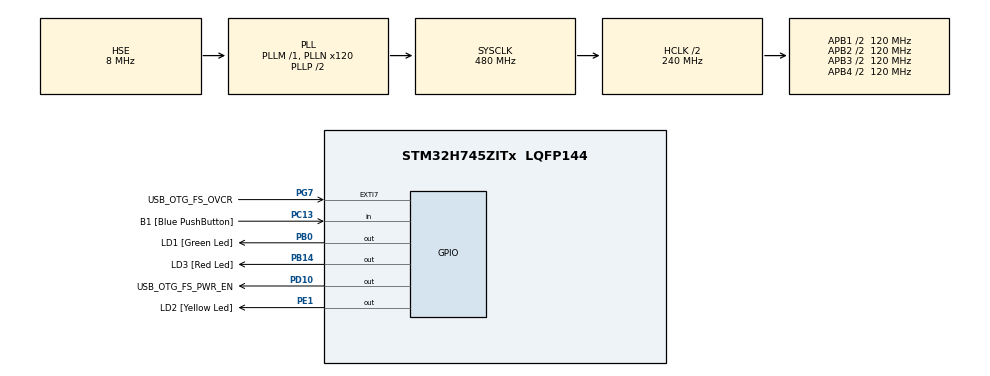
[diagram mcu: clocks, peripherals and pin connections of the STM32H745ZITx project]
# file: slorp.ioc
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CortexM4.IPs=FATFS_M4\:I,FREERTOS_M4\:I,IWDG2\:I,RCC,WWDG2\:I,DMA,BDMA,MDMA,NVIC2\:I,DEBUG,USB_DEVICE_M4\:I,USB_HOST_M4\:I,PDM2PCM_M4\:I,PWR,RESMGR_UTILITY,SYS_M4\:I,CORTEX_M4\:I,OPENAMP_M4\:I,VREFBUF,TIM2\:I
CortexM4.Pins=PB0,PE1
CortexM7.IPs=FATFS_M7\:I,FREERTOS_M7\:I,IWDG1\:I,RCC\:I,WWDG1\:I,DMA\:I,BDMA\:I,MDMA\:I,NVIC1\:I,SYS\:I,CORTEX_M7\:I,DEBUG\:I,USB_DEVICE_M7\:I,USB_HOST_M7\:I,PDM2PCM_M7\:I,PWR\:I,RESMGR_UTILITY\:I,OPENAMP_M7\:I,VREFBUF\:I,TIM1\:I
CortexM7.Pins=PC13,PB14
FREERTOS_M4.Tasks01=defaultTask,24,128,StartDefaultTask,Default,NULL,Dynamic,NULL,NULL;blink,8,128,doBlink,Default,NULL,Dynamic,NULL,NULL
FREERTOS_M7.Tasks01=defaultTask,24,128,StartDefaultTask,Default,NULL,Dynamic,NULL,NULL;sendPulseToM4,8,128,sendPulse,Default,NULL,Dynamic,NULL,NULL
Mcu.Family=STM32H7
Mcu.Name=STM32H745ZITx
Mcu.Package=LQFP144
NVIC1.PriorityGroup=NVIC_PRIORITYGROUP_4
NVIC1.TIM1_UP_IRQn=true\:0\:0\:false\:false\:true\:false\:false\:true
NVIC1.TimeBase=TIM1_UP_IRQn
NVIC1.TimeBaseIP=TIM1
NVIC2.PriorityGroup=NVIC_PRIORITYGROUP_4
NVIC2.TIM2_IRQn=true\:0\:0\:false\:false\:true\:false\:false\:true
NVIC2.TimeBase=TIM2_IRQn
NVIC2.TimeBaseIP=TIM2
PA1.PinAttribute=CortexM4
PA1.Signal=ETH_REF_CLK
PA11.PinAttribute=CortexM7
PA11.Signal=USB_OTG_FS_DM
PA12.PinAttribute=CortexM7
PA12.Signal=USB_OTG_FS_DP
PA2.PinAttribute=CortexM4
PA2.Signal=ETH_MDIO
PA7.PinAttribute=CortexM4
PA7.Signal=ETH_CRS_DV
PA8.PinAttribute=CortexM7
PA8.Signal=USB_OTG_FS_SOF
PA9.PinAttribute=CortexM7
PA9.Signal=USB_OTG_FS_VBUS
PB0.GPIO_Label=LD1 [Green Led]
PB0.GPIO_PuPd=GPIO_PULLDOWN
PB0.PinAttribute=CortexM4
PB0.Signal=GPIO_Output
PB13.PinAttribute=CortexM4
PB13.Signal=ETH_TXD1
PB14.GPIO_Label=LD3 [Red Led]
PB14.GPIO_PuPd=GPIO_PULLDOWN
PB14.PinAttribute=CortexM7
PB14.Signal=GPIO_Output
PC1.PinAttribute=CortexM4
PC1.Signal=ETH_MDC
PC13.GPIO_Label=B1 [Blue PushButton]
PC13.GPIO_PuPd=GPIO_PULLDOWN
PC13.PinAttribute=CortexM7
PC13.Signal=GPIO_Input
PC14-OSC32_IN\ (OSC32_IN).Mode=LSE-External-Oscillator
PC14-OSC32_IN\ (OSC32_IN).PinAttribute=CortexM7
PC14-OSC32_IN\ (OSC32_IN).Signal=RCC_OSC32_IN
PC15-OSC32_OUT\ (OSC32_OUT).Mode=LSE-External-Oscillator
PC15-OSC32_OUT\ (OSC32_OUT).PinAttribute=CortexM7
PC15-OSC32_OUT\ (OSC32_OUT).Signal=RCC_OSC32_OUT
PC4.PinAttribute=CortexM4
PC4.Signal=ETH_RXD0
PC5.PinAttribute=CortexM4
PC5.Signal=ETH_RXD1
PD10.GPIO_Label=USB_OTG_FS_PWR_EN
PD10.PinAttribute=Free
PD10.Signal=GPIO_Output
PD8.GPIO_Label=STLINK_RX
PD8.PinAttribute=CortexM4
PD8.Signal=USART3_TX
PD9.GPIO_Label=STLINK_TX
PD9.PinAttribute=CortexM4
PD9.Signal=USART3_RX
PE1.GPIO_Label=LD2 [Yellow Led]
PE1.GPIO_PuPd=GPIO_PULLDOWN
PE1.PinAttribute=CortexM4
PE1.Signal=GPIO_Output
PG11.PinAttribute=CortexM4
PG11.Signal=ETH_TX_EN
PG13.PinAttribute=CortexM4
PG13.Signal=ETH_TXD0
PG7.GPIO_Label=USB_OTG_FS_OVCR
PG7.PinAttribute=Free
PG7.Signal=GPXTI7
PH0-OSC_IN\ (PH0).Mode=HSE-External-Clock-Source
PH0-OSC_IN\ (PH0).PinAttribute=CortexM7
PH0-OSC_IN\ (PH0).Signal=RCC_OSC_IN
PH1-OSC_OUT\ (PH1).PinAttribute=CortexM7
PH1-OSC_OUT\ (PH1).Signal=RCC_OSC_OUT
ProjectManager.HeapSize=0x200
ProjectManager.StackSize=0x400
ProjectManager.TargetToolchain=STM32CubeIDE
RCC.ADCFreq_Value=16125000
RCC.APB1Freq_Value=120000000
RCC.APB2Freq_Value=120000000
RCC.APB3Freq_Value=120000000
RCC.APB4Freq_Value=120000000
RCC.CortexFreq_Value=480000000
RCC.D1PPRE=RCC_APB3_DIV2
RCC.D2PPRE1=RCC_APB1_DIV2
RCC.D2PPRE2=RCC_APB2_DIV2
RCC.D3PPRE=RCC_APB4_DIV2
RCC.DIVM1=1
RCC.DIVM3=1
RCC.DIVN1=120
RCC.DIVN3=24
RCC.DIVQ3=4
RCC.HCLKFreq_Value=240000000
RCC.HPRE=RCC_HCLK_DIV2
RCC.HSE_VALUE=8000000
RCC.PLL2FRACN=0
RCC.PLL3FRACN=0
RCC.PLLFRACN=0
RCC.PLLSourceVirtual=RCC_PLLSOURCE_HSE
RCC.SYSCLKFreq_VALUE=480000000
RCC.SYSCLKSource=RCC_SYSCLKSOURCE_PLLCLK
RCC.SupplySource=PWR_DIRECT_SMPS_SUPPLY
RCC.USBCLockSelection=RCC_USBCLKSOURCE_PLL3
RCC.USBFreq_Value=48000000
VP_FREERTOS_M4_VS_CMSIS_V2.Mode=CMSIS_V2
VP_FREERTOS_M7_VS_CMSIS_V2.Mode=CMSIS_V2
VP_SYS_M4_VS_tim2.Mode=TIM2
VP_SYS_VS_tim1.Mode=TIM1
board=NUCLEO-H745ZI-Q

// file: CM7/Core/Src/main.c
/* USER CODE BEGIN Header */
/**
  ******************************************************************************
  * @file           : main.c
  * @brief          : Main program body
  ******************************************************************************
  * @attention
  *
  * <h2><center>&copy; Copyright (c) 2021 STMicroelectronics.
  * All rights reserved.</center></h2>
  *
  * This software component is licensed by ST under BSD 3-Clause license,
  * the "License"; You may not use this file except in compliance with the
  * License. You may obtain a copy of the License at:
  *                        opensource.org/licenses/BSD-3-Clause
  *
  ******************************************************************************
  */
/* USER CODE END Header */
#include "main.h"
#include "cmsis_os.h"

/* USER CODE BEGIN PD */

#ifndef HSEM_ID_0
#define HSEM_ID_0 (0U) /* HW semaphore 0*/
#endif

// size in bytes of shared memory
#define SHARED_MEMORY_SIZE 256

// start shared memory states
#define SM_CLEAN 0
#define SM_DIRTY 1
#define SM_LOCKED 2
// end shared memory states

/* USER CODE END PD */

/* Definitions for defaultTask */
osThreadId_t defaultTaskHandle;
const osThreadAttr_t defaultTask_attributes = {
  .name = "defaultTask",
  .priority = (osPriority_t) osPriorityNormal,
  .stack_size = 128 * 4
};
/* Definitions for sendPulseToM4 */
osThreadId_t sendPulseToM4Handle;
const osThreadAttr_t sendPulseToM4_attributes = {
  .name = "sendPulseToM4",
  .priority = (osPriority_t) osPriorityLow,
  .stack_size = 128 * 4
};
/* USER CODE BEGIN PV */

// inter-core buffers
typedef struct shared_memory {
    uint8_t status_M4toM7;
    uint8_t status_M7toM4;
    uint8_t M4toM7[SHARED_MEMORY_SIZE];
    uint8_t M7toM4[SHARED_MEMORY_SIZE];
} SharedMemory;

// pointer to shared memory struct (inter-core buffers and status)
// 0x38001000 is in AHB SRAM4 in D3
volatile SharedMemory* const xfr_ptr = (SharedMemory*)0x38001000;

/* USER CODE END PV */

void SystemClock_Config(void);
static void MX_GPIO_Init(void);
void StartDefaultTask(void *argument);
void sendPulse(void *argument);

/* USER CODE BEGIN PFP */

/**
 * Initializes shared memory.
 */
void init_shared_memory(void);

/**
 * Gets data from M4 to M7. Gets buff_size bytes from shared memory and stores
 * it into buffer.
 *
 * Returns bytes read on success, or < 0 on failure.
 */
int get_M4(uint8_t buffer[], uint32_t buff_size);

/**
 * Writes buff_size bytes from buffer to the shared memory M7 to M4.
 *
 * Returns bytes written on success, or < 0 on failure.
 */
int put_M7(uint8_t buffer[], uint32_t buff_size);

/* USER CODE END PFP */

int main(void)
{
/* USER CODE BEGIN Boot_Mode_Sequence_0 */
  int32_t timeout;
/* USER CODE END Boot_Mode_Sequence_0 */

/* USER CODE BEGIN Boot_Mode_Sequence_1 */
  /* Wait until CPU2 boots and enters in stop mode or timeout*/
  timeout = 0xFFFF;
  while((__HAL_RCC_GET_FLAG(RCC_FLAG_D2CKRDY) != RESET) && (timeout-- > 0));
  if ( timeout < 0 )
  {
  Error_Handler();
  }
/* USER CODE END Boot_Mode_Sequence_1 */
  /* MCU Configuration--------------------------------------------------------*/

  /* Reset of all peripherals, Initializes the Flash interface and the Systick. */
  HAL_Init();

  /* Configure the system clock */
  SystemClock_Config();
/* USER CODE BEGIN Boot_Mode_Sequence_2 */
/* When system initialization is finished, Cortex-M7 will release Cortex-M4 by means of
HSEM notification */
/*HW semaphore Clock enable*/
__HAL_RCC_HSEM_CLK_ENABLE();
/*Take HSEM */
HAL_HSEM_FastTake(HSEM_ID_0);
/*Release HSEM in order to notify the CPU2(CM4)*/
HAL_HSEM_Release(HSEM_ID_0,0);
/* wait until CPU2 wakes up from stop mode */
timeout = 0xFFFF;
while((__HAL_RCC_GET_FLAG(RCC_FLAG_D2CKRDY) == RESET) && (timeout-- > 0));
if ( timeout < 0 )
{
Error_Handler();
}
/* USER CODE END Boot_Mode_Sequence_2 */

  /* USER CODE BEGIN SysInit */

  init_shared_memory();

  /* USER CODE END SysInit */

  /* Initialize all configured peripherals */
  MX_GPIO_Init();

  /* Init scheduler */
  osKernelInitialize();

  /* Create the thread(s) */
  /* creation of defaultTask */
  defaultTaskHandle = osThreadNew(StartDefaultTask, NULL, &defaultTask_attributes);

  /* creation of sendPulseToM4 */
  sendPulseToM4Handle = osThreadNew(sendPulse, NULL, &sendPulseToM4_attributes);

  /* Start scheduler */
  osKernelStart();

  /* We should never get here as control is now taken by the scheduler */
  /* Infinite loop */
  while (1)
  {

  }
}

void SystemClock_Config(void)
{
  RCC_OscInitTypeDef RCC_OscInitStruct = {0};
  RCC_ClkInitTypeDef RCC_ClkInitStruct = {0};

  /** Supply configuration update enable
  */
  HAL_PWREx_ConfigSupply(PWR_DIRECT_SMPS_SUPPLY);
  /** Configure the main internal regulator output voltage
  */
  __HAL_PWR_VOLTAGESCALING_CONFIG(PWR_REGULATOR_VOLTAGE_SCALE0);

  while(!__HAL_PWR_GET_FLAG(PWR_FLAG_VOSRDY)) {}
  /** Initializes the RCC Oscillators according to the specified parameters
  * in the RCC_OscInitTypeDef structure.
  */
  RCC_OscInitStruct.OscillatorType = RCC_OSCILLATORTYPE_HSE;
  RCC_OscInitStruct.HSEState = RCC_HSE_BYPASS;
  RCC_OscInitStruct.PLL.PLLState = RCC_PLL_ON;
  RCC_OscInitStruct.PLL.PLLSource = RCC_PLLSOURCE_HSE;
  RCC_OscInitStruct.PLL.PLLM = 1;
  RCC_OscInitStruct.PLL.PLLN = 120;
  RCC_OscInitStruct.PLL.PLLP = 2;
  RCC_OscInitStruct.PLL.PLLQ = 2;
  RCC_OscInitStruct.PLL.PLLR = 2;
  RCC_OscInitStruct.PLL.PLLRGE = RCC_PLL1VCIRANGE_3;
  RCC_OscInitStruct.PLL.PLLVCOSEL = RCC_PLL1VCOWIDE;
  RCC_OscInitStruct.PLL.PLLFRACN = 0;
  if (HAL_RCC_OscConfig(&RCC_OscInitStruct) != HAL_OK)
  {
    Error_Handler();
  }
  /** Initializes the CPU, AHB and APB buses clocks
  */
  RCC_ClkInitStruct.ClockType = RCC_CLOCKTYPE_HCLK|RCC_CLOCKTYPE_SYSCLK
                              |RCC_CLOCKTYPE_PCLK1|RCC_CLOCKTYPE_PCLK2
                              |RCC_CLOCKTYPE_D3PCLK1|RCC_CLOCKTYPE_D1PCLK1;
  RCC_ClkInitStruct.SYSCLKSource = RCC_SYSCLKSOURCE_PLLCLK;
  RCC_ClkInitStruct.SYSCLKDivider = RCC_SYSCLK_DIV1;
  RCC_ClkInitStruct.AHBCLKDivider = RCC_HCLK_DIV2;
  RCC_ClkInitStruct.APB3CLKDivider = RCC_APB3_DIV2;
  RCC_ClkInitStruct.APB1CLKDivider = RCC_APB1_DIV2;
  RCC_ClkInitStruct.APB2CLKDivider = RCC_APB2_DIV2;
  RCC_ClkInitStruct.APB4CLKDivider = RCC_APB4_DIV2;

  if (HAL_RCC_ClockConfig(&RCC_ClkInitStruct, FLASH_LATENCY_4) != HAL_OK)
  {
    Error_Handler();
  }
}

static void MX_GPIO_Init(void)
{
  GPIO_InitTypeDef GPIO_InitStruct = {0};

  /* GPIO Ports Clock Enable */
  __HAL_RCC_GPIOC_CLK_ENABLE();
  __HAL_RCC_GPIOH_CLK_ENABLE();
  __HAL_RCC_GPIOB_CLK_ENABLE();

  /*Configure GPIO pin Output Level */
  HAL_GPIO_WritePin(LD3_GPIO_Port, LD3_Pin, GPIO_PIN_RESET);

  /*Configure GPIO pin : B1_Pin */
  GPIO_InitStruct.Pin = B1_Pin;
  GPIO_InitStruct.Mode = GPIO_MODE_INPUT;
  GPIO_InitStruct.Pull = GPIO_PULLDOWN;
  HAL_GPIO_Init(B1_GPIO_Port, &GPIO_InitStruct);

  /*Configure GPIO pin : LD3_Pin */
  GPIO_InitStruct.Pin = LD3_Pin;
  GPIO_InitStruct.Mode = GPIO_MODE_OUTPUT_PP;
  GPIO_InitStruct.Pull = GPIO_PULLDOWN;
  GPIO_InitStruct.Speed = GPIO_SPEED_FREQ_LOW;
  HAL_GPIO_Init(LD3_GPIO_Port, &GPIO_InitStruct);

}

/* USER CODE BEGIN 4 */

void init_shared_memory() {
    xfr_ptr->status_M7toM4 = SM_CLEAN;
}

int get_M4(uint8_t buffer[], uint32_t buff_size) {
    // you can only read dirty data
    if (xfr_ptr->status_M4toM7 == SM_DIRTY) {
        xfr_ptr->status_M4toM7 = SM_LOCKED;

        // start transfer
        int i = 0;
        for (i = 0; i < buff_size; i++) {
            buffer[i] = xfr_ptr->M4toM7[i];
        }

        // mark data as clean
        xfr_ptr->status_M4toM7 = SM_CLEAN;
        return i;
    } else {
        return 0;
    }
}

int put_M7(uint8_t buffer[], uint32_t buff_size) {
    // only allowed to write if clean
    if (xfr_ptr->status_M7toM4 == SM_CLEAN) {

        // start transfer
        int i = 0;
        for (i = 0; i < buff_size; i++) {
            xfr_ptr->M7toM4[i] = buffer[i];
        }

        // mark as dirty
        xfr_ptr->status_M7toM4 = SM_DIRTY;
        return i;
    } else {
        return 0;
    }
}

/* USER CODE END 4 */

void StartDefaultTask(void *argument)
{
  for(;;)
  {
    osDelay(1);
  }
}

void sendPulse(void *argument) {
    /* USER CODE BEGIN sendPulse */
    /* Infinite loop */
    for(;;) {
        HAL_GPIO_WritePin(GPIOB, GPIO_PIN_14, GPIO_PIN_RESET);

        uint8_t buff = 250;
        if (put_M7(&buff, 1) == 1) {
            HAL_GPIO_WritePin(GPIOB, GPIO_PIN_14, GPIO_PIN_SET);
            osThreadExit();
        } else {
            Error_Handler();
        }
    }
    /* USER CODE END sendPulse */
}

 /**
  * @brief  Period elapsed callback in non blocking mode
  * @note   This function is called  when TIM1 interrupt took place, inside
  * HAL_TIM_IRQHandler(). It makes a direct call to HAL_IncTick() to increment
  * a global variable "uwTick" used as application time base.
  * @param  htim : TIM handle
  * @retval None
  */
void HAL_TIM_PeriodElapsedCallback(TIM_HandleTypeDef *htim)
{
  if (htim->Instance == TIM1) {
    HAL_IncTick();
  }
}

void Error_Handler(void)
{
  __disable_irq();
  while (1)
  {
  }
}

/************************ (C) COPYRIGHT STMicroelectronics *****END OF FILE****/
